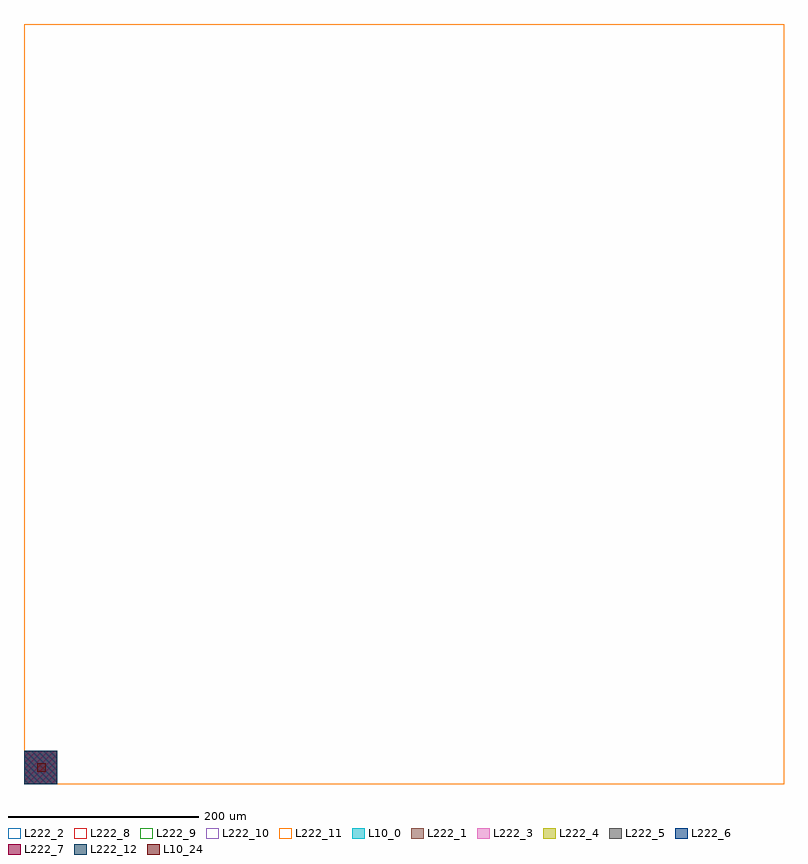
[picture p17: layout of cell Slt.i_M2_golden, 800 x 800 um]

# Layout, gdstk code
import gdstk
lib = gdstk.Library(unit=1e-6, precision=1e-09)
def R(c, l, rs):  # rectangles x0, y0, x1, y1
    for r in rs: c.add(gdstk.rectangle(r[:2], r[2:], *l))
L10_0 = (10, 0)
L10_24 = (10, 24)
L222_1 = (222, 1)
L222_2 = (222, 2)
L222_3 = (222, 3)
L222_4 = (222, 4)
L222_5 = (222, 5)
L222_6 = (222, 6)
L222_7 = (222, 7)
L222_8 = (222, 8)
L222_9 = (222, 9)
L222_10 = (222, 10)
L222_11 = (222, 11)
L222_12 = (222, 12)

slt_i_m2_golden = lib.new_cell('Slt.i_M2_golden')
R(slt_i_m2_golden, L10_0, [(0,0,35.1,35.1)])
R(slt_i_m2_golden, L10_24, [(13.905,12.83,22.905,21.83)])
R(slt_i_m2_golden, L222_1, [(0,0,35.1,35.1)])
R(slt_i_m2_golden, L222_2, [(0,0,800,800)])
R(slt_i_m2_golden, L222_3, [(0,0,35.1,35.1)])
R(slt_i_m2_golden, L222_4, [(0,0,35.1,35.1)])
R(slt_i_m2_golden, L222_5, [(0,0,35.1,35.1)])
R(slt_i_m2_golden, L222_6, [(0,0,35.1,35.1)])
R(slt_i_m2_golden, L222_7, [(0,0,35.1,35.1)])
R(slt_i_m2_golden, L222_8, [(0,0,800,800)])
R(slt_i_m2_golden, L222_9, [(0,0,800,800)])
R(slt_i_m2_golden, L222_10, [(0,0,800,800)])
R(slt_i_m2_golden, L222_11, [(0,0,800,800)])
R(slt_i_m2_golden, L222_12, [(0,0,35.1,35.1)])

lib.write_gds('Slt.i_M2_golden.gds')
